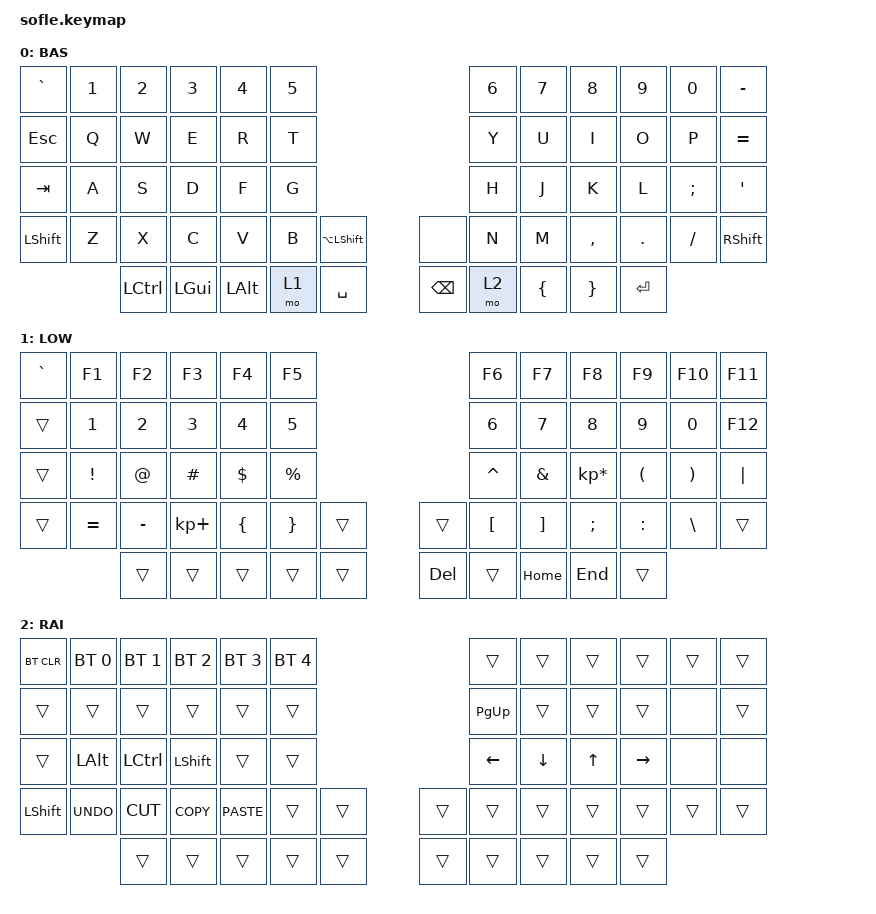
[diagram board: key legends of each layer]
/*
 * Copyright (c) 2020 The ZMK Contributors
 *
 * SPDX-License-Identifier: MIT
 */

#include <behaviors.dtsi>
#include <dt-bindings/zmk/bt.h>
#include <dt-bindings/zmk/keys.h>

/ {
    keymap {
        compatible = "zmk,keymap";

        default_layer {
            display-name = "BAS";

            // ------------------------------------------------------------------------------------------------------------
            // |  `    |  1  |  2  |  3   |  4   |  5   |                   |  6   |  7    |  8    |  9   |   0   |       |
            // |  ESC  |  Q  |  W  |  E   |  R   |  T   |                   |  Y   |  U    |  I    |  O   |   P   | BKSPC |
            // |  TAB  |  A  |  S  |  D   |  F   |  G   |                   |  H   |  J    |  K    |  L   |   ;   |   '   |
            // | SHIFT |  Z  |  X  |  C   |  V   |  B   |  MUTE  |  |       |  N   |  M    |  ,    |  .   |   /   | SHIFT |
            //               | GUI | ALT  | CTRL | LOWER|  ENTER |  | SPACE | RAISE| CTRL  | ALT   | GUI  |

            bindings = <
&kp GRAVE  &kp N1  &kp N2     &kp N3        &kp N4        &kp N5                                       &kp N6  &kp N7          &kp N8           &kp N9   &kp N0    &kp MINUS
&kp ESC    &kp Q   &kp W      &kp E         &kp R         &kp T                                        &kp Y   &kp U           &kp I            &kp O    &kp P     &kp EQUAL
&kp TAB    &kp A   &kp S      &kp D         &kp F         &kp G                                        &kp H   &kp J           &kp K            &kp L    &kp SEMI  &kp SQT
&kp LSHFT  &kp Z   &kp X      &kp C         &kp V         &kp B   &kp LA(LEFT_SHIFT)    &none          &kp N   &kp M           &kp COMMA        &kp DOT  &kp FSLH  &kp RSHFT
                   &kp LCTRL  &kp LEFT_GUI  &kp LEFT_ALT  &mo 1   &kp SPACE             &kp BACKSPACE  &mo 2   &kp LEFT_BRACE  &kp RIGHT_BRACE  &kp RET
            >;
        };

        lower_layer {
            display-name = "LOW";

            // ------------------------------------------------------------------------------------------------------------
            // | `     |  F1 |  F2 |  F3  |  F4  |  F5  |                   |  F6  |  F7   |  F8   |  F9  |  F10  |  F11  |
            // | RAISE |   1 |   2 |   3  |   4  |   5  |                   |   6  |   7   |   8   |   9  |    0  |  F12  |
            // |       |  !  |  @  |  #   |  $   |  %   |                   |  ^   |  &    |  *    |  (   |   )   |   |   |
            // |       |  =  |  -  |  +   |  {   |  }   |        |  |       |  [   |  ]    |  ;    |  :   |   \   |       |
            //               |     |      |      |      |        |  |       |      |       |       |      |

            bindings = <
&kp GRAVE  &kp F1     &kp F2     &kp F3       &kp F4    &kp F5                           &kp F6     &kp F7    &kp F8           &kp F9     &kp F10   &kp F11
&trans     &kp N1     &kp N2     &kp N3       &kp N4    &kp N5                           &kp N6     &kp N7    &kp N8           &kp N9     &kp N0    &kp F12
&trans     &kp EXCL   &kp AT     &kp HASH     &kp DLLR  &kp PRCNT                        &kp CARET  &kp AMPS  &kp KP_MULTIPLY  &kp LPAR   &kp RPAR  &kp PIPE
&trans     &kp EQUAL  &kp MINUS  &kp KP_PLUS  &kp LBRC  &kp RBRC   &trans    &trans      &kp LBKT   &kp RBKT  &kp SEMI         &kp COLON  &kp BSLH  &trans
                      &trans     &trans       &trans    &trans     &trans    &kp DELETE  &trans     &kp HOME  &kp END          &trans
            >;
        };

        raise_layer {
            display-name = "RAI";

            // ------------------------------------------------------------------------------------------------------------
            // |BTCLR| BT1  | BT2  |  BT3  |  BT4  |  BT5 |                |      |      |       |      |       |       |
            // |     | INS  | PSCR | GUI   |       |      |                | PGUP |      |       |      |       |       |
            // |     | ALT  | CTRL | SHIFT |       | CAPS |                |  <-  |   v  |   ^   |  ->  |  DEL  | BKSPC |
            // |     | UNDO | CUT  | COPY  | PASTE |      |      |  |      |      |      |       |      |       |       |
            //              |      |       |       |      |      |  |      |      |      |       |      |

            bindings = <
&bt BT_CLR      &bt BT_SEL 0  &bt BT_SEL 1  &bt BT_SEL 2  &bt BT_SEL 3  &bt BT_SEL 4                    &trans     &trans    &trans  &trans     &trans  &trans
&trans          &trans        &trans        &trans        &trans        &trans                          &kp PG_UP  &trans    &trans  &trans     &none   &trans
&trans          &kp LALT      &kp LCTRL     &kp LSHFT     &trans        &trans                          &kp LEFT   &kp DOWN  &kp UP  &kp RIGHT  &none   &none
&kp LEFT_SHIFT  &kp K_UNDO    &kp K_CUT     &kp K_COPY    &kp K_PASTE   &trans        &trans    &trans  &trans     &trans    &trans  &trans     &trans  &trans
                              &trans        &trans        &trans        &trans        &trans    &trans  &trans     &trans    &trans  &trans
            >;
        };
    };
};
